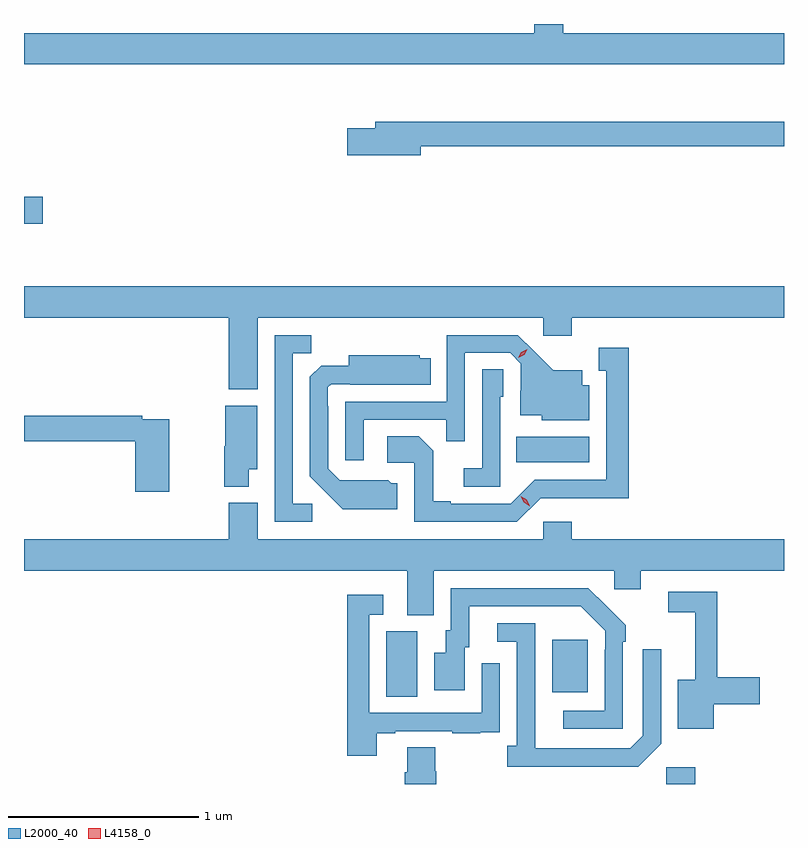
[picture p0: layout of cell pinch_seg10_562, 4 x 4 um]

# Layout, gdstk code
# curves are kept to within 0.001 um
import gdstk
lib = gdstk.Library(unit=1e-6, precision=1e-09)
def R(c, l, rs):  # rectangles x0, y0, x1, y1
    for r in rs: c.add(gdstk.rectangle(r[:2], r[2:], *l))
def P(c, l, *ps):  # polygons
    for p in ps: c.add(gdstk.Polygon(p, *l))
L2000_40 = (2000, 40)
L4158_0 = (4158, 0)

pinch_seg10_562 = lib.new_cell('pinch_seg10_562')
R(pinch_seg10_562, L2000_40, [(354.828,1284.541,354.98,1284.628), (353.354,1285,353.518,1285.344), (354.227,1285.025,354.415,1285.3), (354.04,1286.234,354.424,1286.368), (351.448,1287.49,351.547,1287.632)])
P(pinch_seg10_562, L2000_40, [(354.134,1288.541),(354.134,1288.492),(351.448,1288.492),(351.448,1288.328),(355.448,1288.328),(355.448,1288.492),(354.287,1288.492),(354.287,1288.541)],
  [(353.536,1287.898),(355.448,1287.898),(355.448,1288.027),(353.297,1288.027),(353.297,1287.993),(353.148,1287.993),(353.148,1287.851),(353.536,1287.851)],
  [(352.678,1286.996),(354.18,1286.996),(354.18,1286.901),(354.332,1286.901),(354.332,1286.996),(355.448,1286.996),(355.448,1287.16),(351.448,1287.16),(351.448,1286.996),(352.526,1286.996),(352.526,1286.618),(352.678,1286.618)],
  [(352.966,1286.016),(352.863,1286.016),(352.863,1286.809),(352.959,1286.809),(352.959,1286.904),(352.767,1286.904),(352.767,1285.92),(352.966,1285.92)],
  [(353.235,1286.457),(353.671,1286.457),(353.671,1286.344),(353.769,1286.344),(353.769,1286.811),(354.006,1286.811),(354.063,1286.754),(354.063,1286.612),(354.059,1286.612),(354.059,1286.483),(354.174,1286.483),(354.174,1286.456),(354.424,1286.456),(354.424,1286.641),(354.385,1286.641),(354.385,1286.719),(354.233,1286.719),(354.046,1286.904),(353.673,1286.904),(353.673,1286.553),(353.139,1286.553),(353.139,1286.244),(353.235,1286.244)],
  [(354.168,1286.046),(354.631,1286.045),(354.631,1286.836),(354.473,1286.836),(354.473,1286.715),(354.512,1286.715),(354.512,1286.142),(354.135,1286.142),(354.009,1286.016),(353.695,1286.016),(353.695,1286.029),(353.601,1286.029),(353.601,1286.296),(353.525,1286.372),(353.361,1286.372),(353.361,1286.232),(353.502,1286.232),(353.502,1285.92),(354.042,1285.92)],
  [(353.413,1286.124),(353.382,1286.124),(353.366,1286.14),(353.109,1286.139),(353.049,1286.199),(353.049,1286.528),(353.046,1286.528),(353.046,1286.628),(353.064,1286.646),(353.164,1286.646),(353.164,1286.642),(353.588,1286.642),(353.588,1286.782),(353.532,1286.782),(353.532,1286.797),(353.156,1286.797),(353.156,1286.743),(353.012,1286.743),(352.953,1286.684),(352.953,1286.162),(353.125,1285.988),(353.413,1285.988)],
  [(353.955,1286.58),(353.97,1286.58),(353.97,1286.723),(353.859,1286.723),(353.859,1286.203),(353.763,1286.203),(353.763,1286.106),(353.955,1286.106)],
  [(352.63,1286.198),(352.675,1286.198),(352.675,1286.533),(352.508,1286.533),(352.508,1286.319),(352.501,1286.319),(352.501,1286.105),(352.63,1286.105)],
  [(352.212,1286.46),(352.07,1286.46),(352.07,1286.48),(351.448,1286.48),(351.448,1286.344),(352.034,1286.344),(352.034,1286.079),(352.212,1286.079)],
  [(353.605,1285.664),(354.555,1285.664),(354.555,1285.566),(354.694,1285.566),(354.694,1285.664),(355.448,1285.664),(355.448,1285.828),(354.332,1285.828),(354.332,1285.921),(354.18,1285.921),(354.18,1285.828),(352.678,1285.828),(352.678,1286.02),(352.526,1286.02),(352.526,1285.828),(351.448,1285.828),(351.448,1285.664),(353.465,1285.664),(353.465,1285.429),(353.605,1285.429)],
  [(354.6,1285.289),(354.615,1285.289),(354.615,1285.377),(354.418,1285.572),(353.694,1285.572),(353.694,1285.35),(353.669,1285.35),(353.669,1285.231),(353.606,1285.231),(353.606,1285.035),(353.767,1285.035),(353.767,1285.26),(353.791,1285.26),(353.791,1285.476),(354.379,1285.476),(354.507,1285.347),(354.507,1285.247),(354.504,1285.247),(354.504,1284.927),(354.285,1284.927),(354.285,1284.831),(354.6,1284.831)],
  [(355.078,1284.961),(355.321,1284.961),(355.321,1285.103),(355.097,1285.103),(355.097,1285.554),(354.84,1285.554),(354.84,1285.446),(354.98,1285.446),(354.98,1285.09),(354.89,1285.09),(354.89,1284.833),(355.078,1284.833)],
  [(353.305,1284.807),(353.401,1284.807),(353.401,1284.819),(353.701,1284.819),(353.701,1284.807),(353.849,1284.807),(353.849,1284.813),(353.951,1284.813),(353.951,1284.922),(353.952,1284.922),(353.952,1285.177),(353.856,1285.177),(353.856,1284.915),(353.265,1284.915),(353.265,1285.431),(353.338,1285.431),(353.338,1285.537),(353.149,1285.537),(353.149,1284.69),(353.305,1284.69)],
  [(354.801,1284.753),(354.801,1285.249),(354.705,1285.249),(354.705,1284.795),(354.639,1284.729),(354.139,1284.729),(354.138,1285.386),(353.94,1285.386),(353.94,1285.29),(354.042,1285.29),(354.042,1284.742),(353.991,1284.742),(353.991,1284.632),(354.68,1284.632)],
  [(353.618,1284.609),(353.613,1284.609),(353.613,1284.734),(353.465,1284.734),(353.465,1284.602),(353.453,1284.602),(353.453,1284.541),(353.618,1284.541)])
P(pinch_seg10_562, L4158_0, [(354.111,1286.003),(354.079,1286.023),(354.062,1286.055),(354.062,1286.056),(354.062,1286.056),(354.094,1286.036),(354.111,1286.004),(354.111,1286.003)],
  [(354.049,1286.784),(354.049,1286.785),(354.066,1286.814),(354.097,1286.83),(354.097,1286.83),(354.097,1286.829),(354.08,1286.8),(354.049,1286.784)])

lib.write_gds('pinch_seg10_562.gds')
